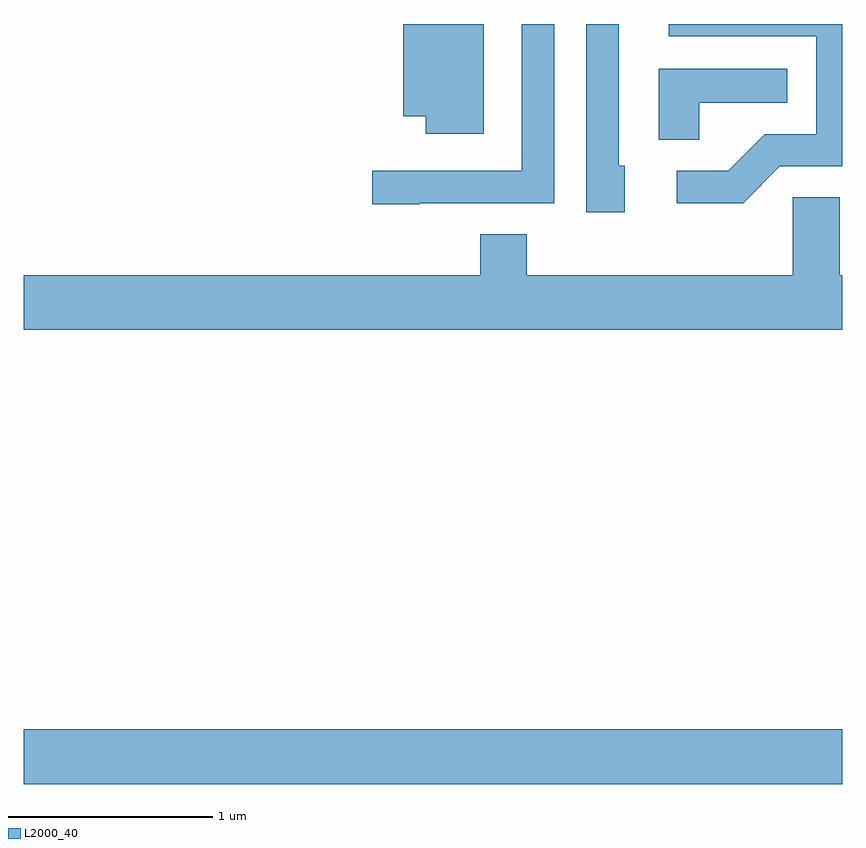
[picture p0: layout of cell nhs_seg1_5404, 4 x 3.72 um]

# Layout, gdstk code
import gdstk
lib = gdstk.Library(unit=1e-6, precision=1e-09)
def R(c, l, rs):  # rectangles x0, y0, x1, y1
    for r in rs: c.add(gdstk.rectangle(r[:2], r[2:], *l))
def P(c, l, *ps):  # polygons
    for p in ps: c.add(gdstk.Polygon(p, *l))
L2000_40 = (2000, 40)

nhs_seg1_5404 = lib.new_cell('nhs_seg1_5404')
R(nhs_seg1_5404, L2000_40, [(347.611,923.996,351.611,924.264)])
P(nhs_seg1_5404, L2000_40, [(350.549,927.019),(350.519,927.019),(350.519,927.712),(350.361,927.712),(350.361,926.791),(350.549,926.791)],
  [(349.859,927.712),(349.466,927.712),(349.466,927.261),(349.576,927.261),(349.576,927.176),(349.859,927.176)],
  [(349.545,926.836),(350.204,926.836),(350.204,927.712),(350.046,927.712),(350.046,926.994),(349.313,926.994),(349.313,926.831),(349.545,926.831)],
  [(351.307,927.016),(351.611,927.016),(351.611,927.712),(350.763,927.712),(350.763,927.651),(351.486,927.651),(351.486,927.174),(351.234,927.174),(351.054,926.994),(350.803,926.994),(350.803,926.836),(351.127,926.836)],
  [(350.914,927.326),(351.343,927.326),(351.343,927.494),(350.716,927.494),(350.716,927.146),(350.914,927.146)],
  [(351.611,926.484),(351.599,926.484),(351.599,926.864),(351.371,926.864),(351.371,926.484),(350.069,926.484),(350.069,926.684),(349.841,926.684),(349.841,926.484),(347.611,926.484),(347.611,926.216),(351.611,926.216)])

lib.write_gds('nhs_seg1_5404.gds')
